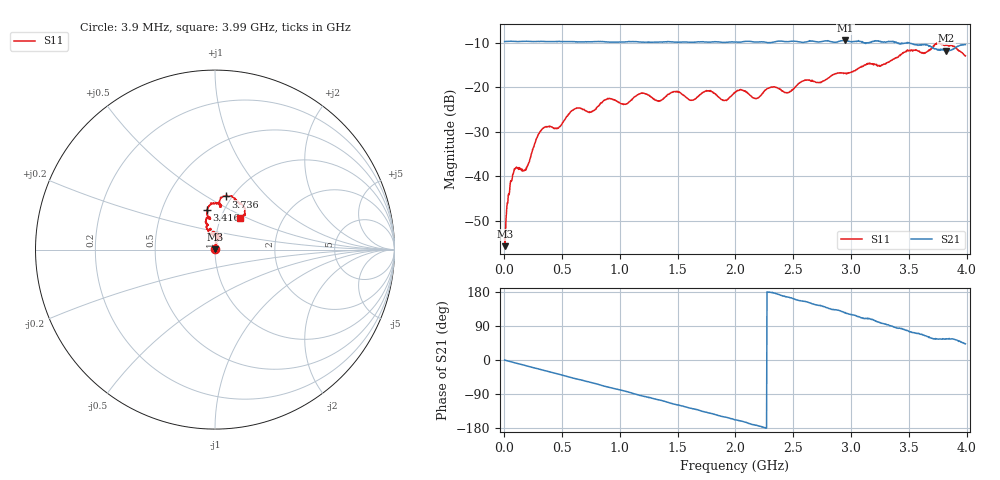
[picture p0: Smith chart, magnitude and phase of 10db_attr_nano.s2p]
# HZ S RI R 50
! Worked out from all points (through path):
!   1023 points, 3.9 MHz to 3.99 GHz, reference 50 ohm
!   highest |S21| = -9.54 dB at 2.952 GHz (marker M1); lowest = -11.9 dB at 3.826 GHz (marker M2)
!   group delay of S21, straight-line fit = 223 ps
!   lowest |S11| = -55.7 dB at 7.8 MHz (marker M3), VSWR 1.00, Z = 50 + j0.163 ohm
!   |S11| at or under -10 dB: start of sweep to end of sweep
!   S12 and S22 are empty: the file has one direction only
!   S11 on the Smith chart (normalised r, x): 3.9 MHz: 1.00, +0.00; 3.416 GHz: 0.83, +0.39; 3.736 GHz: 0.93, +0.61; 3.99 GHz: 1.23, +0.45
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3900000  -0.00175 0.00102  0.3245 -0.00107  0 0  0 0
7800000  -0.000193 0.00163  0.3246 -0.00277  0 0  0 0
4.29e7  0.00019 0.0062  0.3256 -0.0184  0 0  0 0
9.36e7  0.00553 0.0107  0.3224 -0.043  0 0  0 0
1.911e8  0.00354 0.0119  0.3151 -0.0858  0 0  0 0
3.315e8  0.00625 0.0334  0.2916 -0.145  0 0  0 0
4.68e8  0.0072 0.0338  0.2589 -0.1962  0 0  0 0
6.708e8  0.0186 0.0542  0.1932 -0.2568  0 0  0 0
1.0491e9  0.0177 0.0616  0.0433 -0.3186  0 0  0 0
1.1895e9  0.0265 0.0814  -0.0255 -0.3188  0 0  0 0
1.3338e9  0.0214 0.0668  -0.0835 -0.3084  0 0  0 0
1.482e9  0.0279 0.0839  -0.1458 -0.2844  0 0  0 0
1.6185e9  0.02 0.0681  -0.1937 -0.2525  0 0  0 0
1.9968e9  -0.000568 0.087  -0.2971 -0.1184  0 0  0 0
2.184e9  -0.00238 0.0745  -0.3177 -0.042  0 0  0 0
2.6637e9  -0.0255 0.117  -0.2812 0.1736  0 0  0 0
2.9523e9  -0.0375 0.1368  -0.1854 0.2773  0 0  0 0
3.3267e9  -0.0421 0.1863  -0.0126 0.327  0 0  0 0
3.4164e9  -0.0454 0.2205  0.033 0.3088  0 0  0 0
3.7362e9  0.0591 0.2961  0.1546 0.2193  0 0  0 0
3.8259e9  0.1268 0.2673  0.142 0.2124  0 0  0 0
3.9897e9  0.1398 0.1745  0.2205 0.203  0 0  0 0
